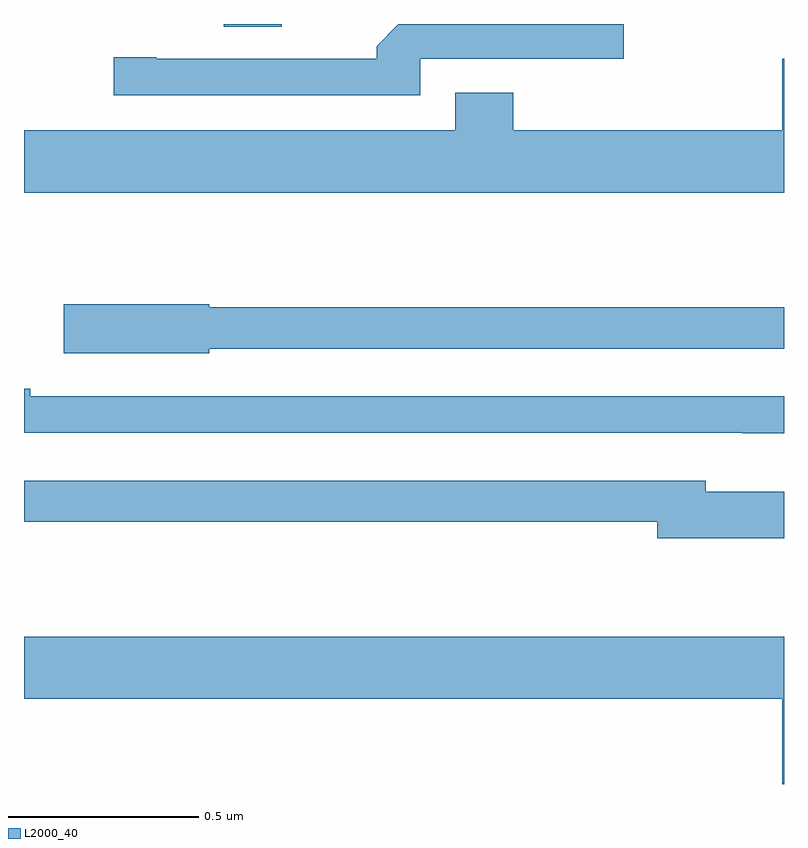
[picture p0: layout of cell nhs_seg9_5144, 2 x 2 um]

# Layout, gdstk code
import gdstk
lib = gdstk.Library(unit=1e-6, precision=1e-09)
def R(c, l, rs):  # rectangles x0, y0, x1, y1
    for r in rs: c.add(gdstk.rectangle(r[:2], r[2:], *l))
def P(c, l, *ps):  # polygons
    for p in ps: c.add(gdstk.Polygon(p, *l))
L2000_40 = (2000, 40)

nhs_seg9_5144 = lib.new_cell('nhs_seg9_5144')
R(nhs_seg9_5144, L2000_40, [(175.526,1227.493,175.678,1227.5)])
P(nhs_seg9_5144, L2000_40, [(176.043,1227.408),(176.578,1227.408),(176.578,1227.5),(175.985,1227.5),(175.928,1227.442),(175.928,1227.408),(175.348,1227.408),(175.348,1227.413),(175.236,1227.413),(175.236,1227.312),(176.043,1227.312)],
  [(177,1227.409),(176.996,1227.409),(176.996,1227.22),(176.288,1227.22),(176.288,1227.319),(176.135,1227.319),(176.135,1227.22),(175,1227.22),(175,1227.056),(177,1227.056)],
  [(175.488,1226.646),(177,1226.646),(177,1226.755),(175.488,1226.755),(175.488,1226.763),(175.104,1226.763),(175.104,1226.633),(175.488,1226.633)],
  [(177,1226.52),(175.016,1226.52),(175.016,1226.54),(175,1226.54),(175,1226.424),(176.89,1226.424),(176.89,1226.423),(177,1226.423)],
  [(177,1226.269),(176.794,1226.269),(176.794,1226.298),(175,1226.298),(175,1226.19),(176.666,1226.19),(176.666,1226.147),(177,1226.147)],
  [(177,1225.888),(175,1225.888),(175,1225.724),(176.996,1225.724),(176.996,1225.5),(177,1225.5)])

lib.write_gds('nhs_seg9_5144.gds')
